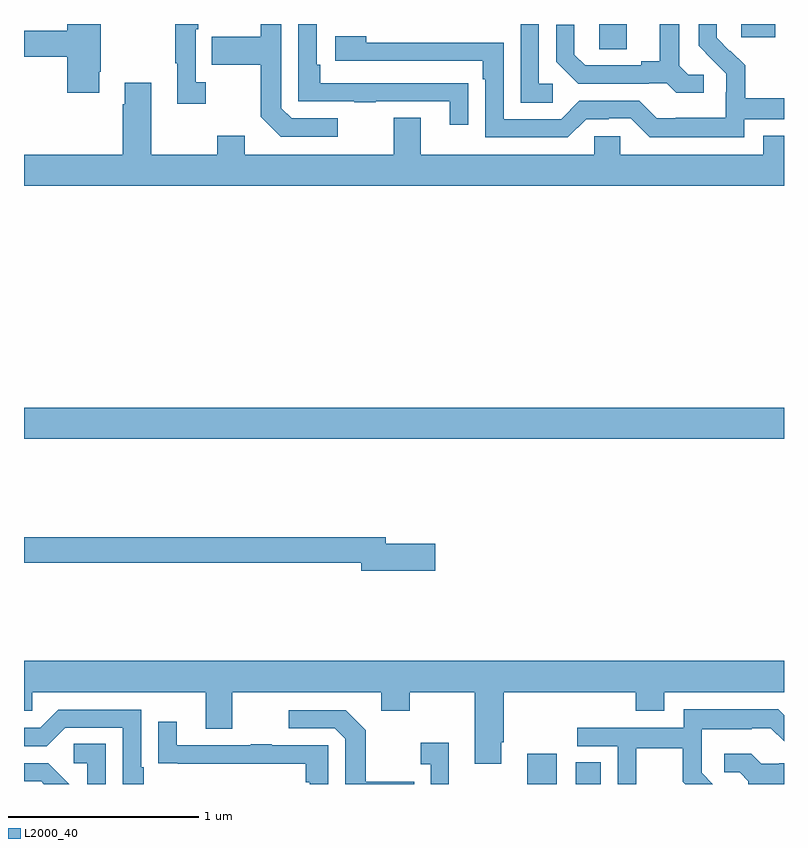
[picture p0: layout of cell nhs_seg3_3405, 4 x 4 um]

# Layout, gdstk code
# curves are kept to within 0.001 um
import gdstk
lib = gdstk.Library(unit=1e-6, precision=1e-09)
def R(c, l, rs):  # rectangles x0, y0, x1, y1
    for r in rs: c.add(gdstk.rectangle(r[:2], r[2:], *l))
def P(c, l, *ps):  # polygons
    for p in ps: c.add(gdstk.Polygon(p, *l))
L2000_40 = (2000, 40)

nhs_seg3_3405 = lib.new_cell('nhs_seg3_3405')
R(nhs_seg3_3405, L2000_40, [(289.649,732.4,289.804,732.559), (289.904,732.4,290.035,732.515), (287,734.216,291,734.38), (290.028,736.267,290.173,736.4), (290.774,736.329,290.953,736.4)])
P(nhs_seg3_3405, L2000_40, [(290.79,735.9),(291,735.9),(291,736.009),(290.795,736.009),(290.795,736.183),(290.718,736.26),(290.715,736.257),(290.645,736.328),(290.645,736.4),(290.55,736.4),(290.55,736.286),(290.696,736.138),(290.696,736.041),(290.694,736.041),(290.694,735.907),(290.431,735.907),(290.431,735.903),(290.331,735.903),(290.238,735.996),(289.923,735.996),(289.827,735.9),(289.524,735.9),(289.524,736.302),(288.8,736.302),(288.8,736.336),(288.639,736.336),(288.639,736.206),(289.415,736.206),(289.415,736.109),(289.428,736.109),(289.428,735.804),(289.863,735.804),(289.959,735.9),(290.078,735.9),(290.078,735.903),(290.193,735.903),(290.293,735.803),(290.79,735.803)],
  [(287.395,736.15),(287.403,736.15),(287.403,736.4),(287.228,736.4),(287.228,736.364),(287,736.364),(287,736.228),(287.228,736.228),(287.228,736.038),(287.395,736.038)],
  [(287.956,736.094),(287.904,736.094),(287.904,736.373),(287.917,736.373),(287.917,736.4),(287.796,736.4),(287.796,736.193),(287.807,736.193),(287.807,735.981),(287.956,735.981)],
  [(288.652,735.903),(288.408,735.903),(288.354,735.957),(288.354,736.4),(288.246,736.4),(288.246,736.333),(287.989,736.333),(287.989,736.186),(288.246,736.186),(288.246,735.913),(288.351,735.807),(288.652,735.807)],
  [(289.337,736.088),(289.235,736.088),(289.235,736.089),(288.56,736.089),(288.56,736.186),(288.54,736.186),(288.54,736.4),(288.444,736.4),(288.444,735.993),(288.739,735.993),(288.739,735.988),(288.851,735.988),(288.851,735.993),(289.241,735.993),(289.241,735.87),(289.337,735.87)],
  [(290.578,736.134),(290.496,736.134),(290.449,736.181),(290.449,736.4),(290.345,736.4),(290.345,736.205),(290.249,736.205),(290.249,736.182),(289.954,736.182),(289.897,736.239),(289.897,736.396),(289.8,736.396),(289.8,736.202),(289.916,736.086),(290.288,736.086),(290.288,736.089),(290.382,736.089),(290.434,736.037),(290.578,736.037)],
  [(289.783,736.086),(289.71,736.086),(289.71,736.4),(289.614,736.4),(289.614,735.985),(289.783,735.985)],
  [(291,735.811),(290.891,735.811),(290.891,735.712),(290.139,735.712),(290.139,735.81),(290.001,735.81),(290.001,735.712),(289.087,735.712),(289.087,735.907),(288.947,735.907),(288.947,735.712),(288.163,735.712),(288.163,735.811),(288.016,735.811),(288.016,735.712),(287.671,735.712),(287.671,736.09),(287.531,736.09),(287.531,735.977),(287.519,735.977),(287.519,735.712),(287,735.712),(287,735.548),(291,735.548)],
  [(289.165,733.664),(288.904,733.664),(288.904,733.7),(287,733.7),(287,733.564),(288.776,733.564),(288.776,733.522),(289.165,733.522)],
  [(289.513,732.619),(289.526,732.619),(289.526,732.884),(290.219,732.884),(290.219,732.785),(290.371,732.785),(290.371,732.884),(291,732.884),(291,733.048),(287,733.048),(287,732.786),(287.043,732.786),(287.043,732.884),(287.957,732.884),(287.957,732.69),(288.097,732.69),(288.097,732.884),(288.881,732.884),(288.881,732.785),(289.029,732.785),(289.029,732.884),(289.373,732.884),(289.373,732.507),(289.513,732.507)],
  [(290.223,732.588),(290.467,732.588),(290.467,732.413),(290.48,732.4),(290.624,732.4),(290.566,732.458),(290.566,732.555),(290.568,732.555),(290.568,732.689),(290.831,732.689),(290.831,732.693),(290.931,732.693),(291,732.624),(291,732.762),(290.969,732.793),(290.472,732.793),(290.472,732.696),(289.911,732.696),(289.911,732.6),(290.124,732.6),(290.124,732.4),(290.223,732.4)],
  [(287.629,732.487),(287.616,732.487),(287.616,732.792),(287.181,732.792),(287.085,732.696),(287,732.696),(287,732.6),(287.121,732.6),(287.217,732.696),(287.52,732.696),(287.52,732.4),(287.629,732.4)],
  [(289.055,732.411),(288.799,732.411),(288.799,732.683),(288.693,732.789),(288.393,732.789),(288.393,732.693),(288.636,732.693),(288.69,732.639),(288.69,732.4),(289.055,732.4)],
  [(288.6,732.603),(288.305,732.603),(288.305,732.608),(288.193,732.608),(288.193,732.603),(287.803,732.603),(287.803,732.727),(287.707,732.727),(287.707,732.508),(287.809,732.508),(287.809,732.507),(288.484,732.507),(288.484,732.41),(288.504,732.41),(288.504,732.4),(288.6,732.4)],
  [(289.236,732.616),(289.089,732.616),(289.089,732.503),(289.14,732.503),(289.14,732.4),(289.236,732.4)],
  [(287.43,732.611),(287.262,732.611),(287.262,732.51),(287.334,732.51),(287.334,732.4),(287.43,732.4)],
  [(291,732.51),(290.974,732.51),(290.974,732.507),(290.88,732.507),(290.828,732.559),(290.685,732.559),(290.685,732.462),(290.766,732.462),(290.813,732.415),(290.813,732.4),(291,732.4)],
  [(287.128,732.51),(287,732.51),(287,732.414),(287.09,732.414),(287.104,732.4),(287.238,732.4)])

lib.write_gds('nhs_seg3_3405.gds')
